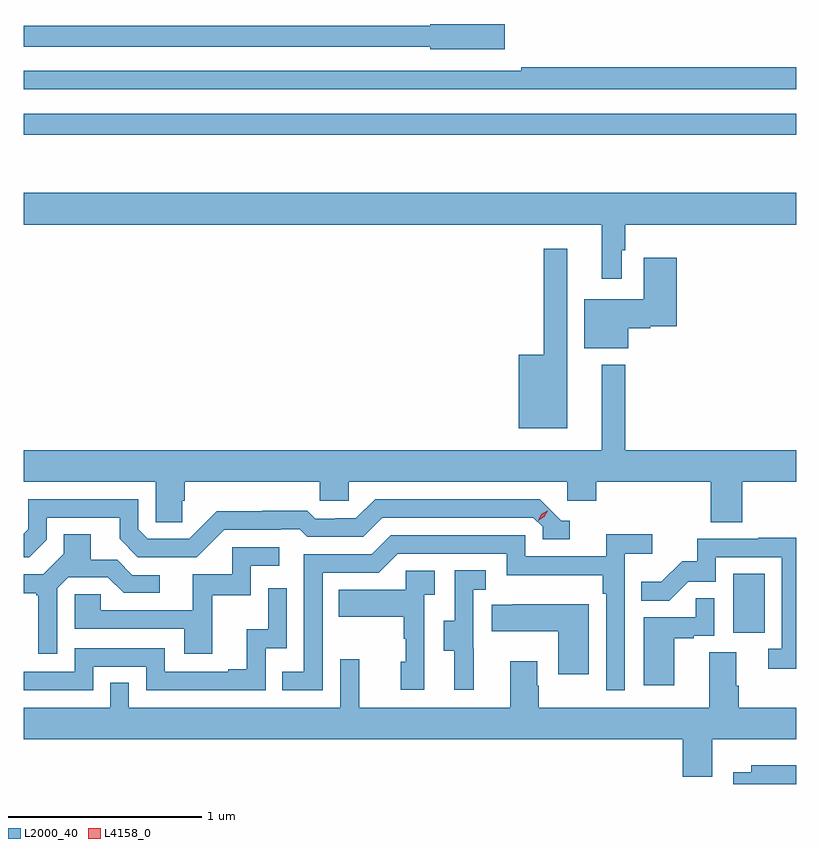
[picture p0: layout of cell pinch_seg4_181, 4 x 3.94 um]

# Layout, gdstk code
import gdstk
lib = gdstk.Library(unit=1e-6, precision=1e-09)
def R(c, l, rs):  # rectangles x0, y0, x1, y1
    for r in rs: c.add(gdstk.rectangle(r[:2], r[2:], *l))
def P(c, l, *ps):  # polygons
    for p in ps: c.add(gdstk.Polygon(p, *l))
L2000_40 = (2000, 40)
L4158_0 = (4158, 0)

pinch_seg4_181 = lib.new_cell('pinch_seg4_181')
R(pinch_seg4_181, L2000_40, [(1104.644,801.366,1104.808,801.673), (1100.971,803.946,1104.971,804.054)])
P(pinch_seg4_181, L2000_40, [(1103.461,804.519),(1103.076,804.519),(1103.076,804.511),(1100.971,804.511),(1100.971,804.402),(1103.076,804.402),(1103.076,804.389),(1103.461,804.389)],
  [(1104.971,804.296),(1103.548,804.296),(1103.548,804.276),(1100.971,804.276),(1100.971,804.18),(1104.971,804.18)],
  [(1104.067,803.348),(1104.085,803.348),(1104.085,803.48),(1104.971,803.48),(1104.971,803.644),(1100.971,803.644),(1100.971,803.48),(1103.963,803.48),(1103.963,803.199),(1104.067,803.199)],
  [(1103.785,803.356),(1103.664,803.356),(1103.664,802.807),(1103.534,802.807),(1103.534,802.427),(1103.785,802.427)],
  [(1104.1,802.943),(1104.216,802.943),(1104.216,802.955),(1104.353,802.955),(1104.353,803.308),(1104.182,803.308),(1104.182,803.095),(1103.873,803.095),(1103.873,802.841),(1104.1,802.841)],
  [(1100.971,802.148),(1101.654,802.148),(1101.654,801.94),(1101.791,801.94),(1101.791,802.05),(1101.806,802.05),(1101.806,802.148),(1102.503,802.148),(1102.503,802.05),(1102.653,802.05),(1102.653,802.148),(1103.784,802.148),(1103.784,802.05),(1103.936,802.05),(1103.936,802.148),(1104.527,802.148),(1104.527,801.94),(1104.692,801.94),(1104.692,802.148),(1104.971,802.148),(1104.971,802.312),(1104.085,802.312),(1104.085,802.756),(1103.963,802.756),(1103.963,802.312),(1100.971,802.312)],
  [(1101.09,801.849),(1101.09,801.963),(1101.467,801.963),(1101.467,801.853),(1101.561,801.759),(1101.867,801.759),(1102.008,801.9),(1102.301,801.9),(1102.301,801.903),(1102.4,801.903),(1102.439,801.864),(1102.728,801.864),(1102.827,801.963),(1103.61,801.963),(1103.658,801.915),(1103.658,801.852),(1103.797,801.852),(1103.797,801.948),(1103.754,801.948),(1103.643,802.059),(1102.79,802.059),(1102.691,801.96),(1102.584,801.96),(1102.584,801.957),(1102.481,801.957),(1102.439,802),(1102.206,802),(1102.206,801.997),(1101.97,801.997),(1101.828,801.855),(1101.612,801.855),(1101.564,801.903),(1101.564,802.059),(1100.994,802.059),(1100.994,801.903),(1100.971,801.88),(1100.971,801.759),(1101,801.759)],
  [(1101.144,801.597),(1101.201,801.654),(1101.407,801.654),(1101.488,801.573),(1101.676,801.573),(1101.676,801.666),(1101.534,801.666),(1101.454,801.746),(1101.319,801.746),(1101.319,801.878),(1101.179,801.878),(1101.179,801.776),(1101.072,801.669),(1100.971,801.669),(1100.971,801.572),(1101.036,801.572),(1101.036,801.561),(1101.047,801.561),(1101.047,801.258),(1101.144,801.258)],
  [(1102.518,801.678),(1102.809,801.678),(1102.908,801.777),(1103.472,801.777),(1103.472,801.665),(1103.968,801.665),(1103.968,801.569),(1103.988,801.569),(1103.988,801.069),(1104.084,801.069),(1104.084,801.776),(1104.226,801.776),(1104.226,801.878),(1103.987,801.878),(1103.987,801.762),(1103.568,801.762),(1103.568,801.873),(1102.871,801.873),(1102.772,801.774),(1102.422,801.774),(1102.422,801.165),(1102.309,801.165),(1102.309,801.069),(1102.518,801.069)],
  [(1104.971,801.86),(1104.775,801.86),(1104.775,801.855),(1104.457,801.855),(1104.457,801.738),(1104.38,801.738),(1104.273,801.631),(1104.169,801.631),(1104.169,801.532),(1104.313,801.532),(1104.411,801.63),(1104.555,801.63),(1104.555,801.759),(1104.897,801.759),(1104.897,801.285),(1104.825,801.285),(1104.825,801.18),(1104.971,801.18)],
  [(1101.947,801.561),(1102.146,801.561),(1102.146,801.714),(1102.294,801.714),(1102.294,801.81),(1102.05,801.81),(1102.05,801.669),(1101.845,801.669),(1101.845,801.483),(1101.371,801.483),(1101.371,801.567),(1101.234,801.567),(1101.234,801.387),(1101.803,801.387),(1101.803,801.258),(1101.947,801.258)],
  [(1103.3,801.285),(1103.298,801.285),(1103.298,801.589),(1103.362,801.589),(1103.362,801.692),(1103.202,801.692),(1103.202,801.429),(1103.147,801.429),(1103.147,801.274),(1103.201,801.274),(1103.201,801.072),(1103.3,801.072)],
  [(1103.046,801.563),(1103.098,801.563),(1103.098,801.687),(1102.95,801.687),(1102.95,801.589),(1102.603,801.589),(1102.603,801.449),(1102.938,801.449),(1102.938,801.335),(1102.948,801.335),(1102.948,801.216),(1102.922,801.216),(1102.922,801.072),(1103.046,801.072)],
  [(1101.33,801.192),(1101.606,801.192),(1101.606,801.069),(1102.224,801.069),(1102.224,801.288),(1102.332,801.288),(1102.332,801.598),(1102.236,801.598),(1102.236,801.386),(1102.127,801.386),(1102.127,801.178),(1102.031,801.178),(1102.031,801.165),(1101.702,801.165),(1101.702,801.288),(1101.234,801.288),(1101.234,801.165),(1100.971,801.165),(1100.971,801.069),(1101.33,801.069)],
  [(1104.34,801.339),(1104.44,801.339),(1104.44,801.351),(1104.546,801.351),(1104.546,801.545),(1104.451,801.545),(1104.451,801.447),(1104.182,801.447),(1104.182,801.096),(1104.34,801.096)],
  [(1103.896,801.514),(1103.503,801.514),(1103.503,801.511),(1103.395,801.511),(1103.395,801.374),(1103.738,801.374),(1103.738,801.153),(1103.896,801.153)],
  [(1104.535,800.816),(1104.971,800.816),(1104.971,800.98),(1104.674,800.98),(1104.674,801.092),(1104.661,801.092),(1104.661,801.266),(1104.521,801.266),(1104.521,800.98),(1103.637,800.98),(1103.637,801.092),(1103.629,801.092),(1103.629,801.22),(1103.489,801.22),(1103.489,800.98),(1102.709,800.98),(1102.709,801.229),(1102.611,801.229),(1102.611,800.98),(1101.516,800.98),(1101.516,801.107),(1101.42,801.107),(1101.42,800.98),(1100.971,800.98),(1100.971,800.816),(1104.383,800.816),(1104.383,800.622),(1104.535,800.622)],
  [(1104.971,800.68),(1104.737,800.68),(1104.737,800.644),(1104.644,800.644),(1104.644,800.584),(1104.971,800.584)])
P(pinch_seg4_181, L4158_0, [(1103.635,801.948),(1103.635,801.948),(1103.651,801.981),(1103.682,802),(1103.683,802),(1103.683,801.999),(1103.666,801.967),(1103.635,801.948)])

lib.write_gds('pinch_seg4_181.gds')
